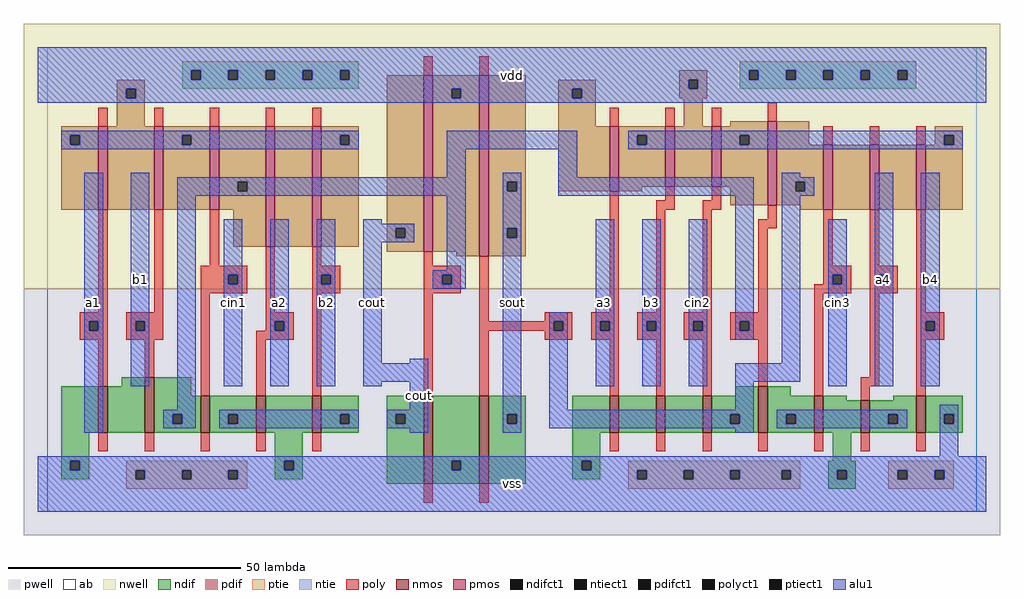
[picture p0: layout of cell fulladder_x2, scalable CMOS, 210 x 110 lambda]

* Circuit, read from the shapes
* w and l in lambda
.subckt fulladder_x2 a1 a2 a3 a4 b1 b2 b3 b4 cin1 cin2 cin3 cout sout vdd vss
M1 n1 a1 vss vss nfet w=10 l=2
M2 n2 b1 n1 vss nfet w=12 l=2
M3 n3 cin1 n2 vss nfet w=8 l=2
M4 vss a2 n3 vss nfet w=8 l=2
M5 n3 b2 vss vss nfet w=8 l=2
M6 vss n2 cout vss nfet w=19 l=2
M7 sout n4 vss vss nfet w=19 l=2
M8 n5 a3 vss vss nfet w=8 l=2
M9 n6 b3 n5 vss nfet w=8 l=2
M10 n4 cin2 n6 vss nfet w=8 l=2
M11 n7 n2 n4 vss nfet w=10 l=2
M12 vss cin3 n7 vss nfet w=8 l=2
M13 n7 a4 vss vss nfet w=7 l=2
M14 vss b4 n7 vss nfet w=8 l=2
M15 vdd a1 n8 vdd pfet w=18 l=2
M16 n8 b1 vdd vdd pfet w=18 l=2
M17 n2 cin1 n8 vdd pfet w=18 l=2
M18 n9 a2 n2 vdd pfet w=26 l=2
M19 n8 b2 n9 vdd pfet w=26 l=2
M20 vdd n2 cout vdd pfet w=38 l=2
M21 sout n4 vdd vdd pfet w=39 l=2
M22 n10 a3 vdd vdd pfet w=14 l=2
M23 vdd b3 n10 vdd pfet w=13 l=2
M24 n10 cin2 vdd vdd pfet w=13 l=2
M25 n4 n2 n10 vdd pfet w=18 l=2
M26 n11 cin3 n4 vdd pfet w=14 l=2
M27 n12 a4 n11 vdd pfet w=14 l=2
M28 n10 b4 n12 vdd pfet w=14 l=2
.ends

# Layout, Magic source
magic
tech scmos
<< ab >>
rect 0 0 200 100
<< nwell >>
rect -5 48 205 105
<< pwell >>
rect -5 -5 205 48
<< poly >>
rect 81 94 83 98
rect 93 94 95 98
rect 11 83 13 87
rect 23 83 25 87
rect 35 83 37 87
rect 47 83 49 87
rect 57 83 59 87
rect 11 43 13 65
rect 23 43 25 65
rect 35 53 37 65
rect 7 41 13 43
rect 7 39 9 41
rect 11 39 13 41
rect 7 37 13 39
rect 17 41 25 43
rect 17 39 19 41
rect 21 39 25 41
rect 17 37 25 39
rect 33 51 43 53
rect 33 49 39 51
rect 41 49 43 51
rect 33 47 43 49
rect 11 27 13 37
rect 21 29 23 37
rect 33 25 35 47
rect 47 43 49 57
rect 57 53 59 57
rect 81 53 83 56
rect 121 83 123 87
rect 133 83 135 87
rect 143 83 145 87
rect 155 84 157 88
rect 57 51 63 53
rect 57 49 59 51
rect 61 49 63 51
rect 57 47 63 49
rect 81 51 89 53
rect 81 49 85 51
rect 87 49 89 51
rect 81 47 89 49
rect 47 41 53 43
rect 47 39 49 41
rect 51 39 53 41
rect 45 37 53 39
rect 45 25 47 37
rect 57 25 59 47
rect 81 25 83 47
rect 93 41 95 55
rect 121 43 123 69
rect 133 67 135 70
rect 143 67 145 70
rect 131 65 135 67
rect 141 65 145 67
rect 167 79 169 83
rect 177 79 179 83
rect 187 79 189 83
rect 131 43 133 65
rect 141 43 143 65
rect 155 63 157 66
rect 153 61 157 63
rect 153 43 155 61
rect 167 53 169 65
rect 177 53 179 65
rect 167 51 173 53
rect 167 49 169 51
rect 171 49 173 51
rect 107 41 113 43
rect 93 39 109 41
rect 111 39 113 41
rect 93 25 95 39
rect 107 37 113 39
rect 117 41 123 43
rect 117 39 119 41
rect 121 39 123 41
rect 117 37 123 39
rect 127 41 133 43
rect 127 39 129 41
rect 131 39 133 41
rect 127 37 133 39
rect 137 41 143 43
rect 137 39 139 41
rect 141 39 143 41
rect 137 37 143 39
rect 147 41 155 43
rect 147 39 149 41
rect 151 39 155 41
rect 147 37 155 39
rect 121 25 123 37
rect 131 25 133 37
rect 141 25 143 37
rect 153 27 155 37
rect 165 47 173 49
rect 177 51 183 53
rect 177 49 179 51
rect 181 49 183 51
rect 177 47 183 49
rect 11 13 13 17
rect 21 13 23 17
rect 33 13 35 17
rect 45 13 47 17
rect 57 13 59 17
rect 165 25 167 47
rect 177 29 179 47
rect 175 27 179 29
rect 187 43 189 65
rect 187 41 193 43
rect 187 39 189 41
rect 191 39 193 41
rect 187 37 193 39
rect 175 24 177 27
rect 187 25 189 37
rect 121 13 123 17
rect 131 13 133 17
rect 141 13 143 17
rect 153 13 155 17
rect 165 13 167 17
rect 175 13 177 17
rect 187 13 189 17
rect 81 2 83 6
rect 93 2 95 6
<< ndif >>
rect 16 27 21 29
rect 3 17 11 27
rect 13 17 21 27
rect 23 25 31 29
rect 148 25 153 27
rect 23 21 33 25
rect 23 19 27 21
rect 29 19 33 21
rect 23 17 33 19
rect 35 21 45 25
rect 35 19 39 21
rect 41 19 45 21
rect 35 17 45 19
rect 47 17 57 25
rect 59 21 67 25
rect 59 19 63 21
rect 65 19 67 21
rect 59 17 67 19
rect 73 21 81 25
rect 73 19 75 21
rect 77 19 81 21
rect 3 11 9 17
rect 49 11 55 17
rect 3 9 5 11
rect 7 9 9 11
rect 3 7 9 9
rect 49 9 51 11
rect 53 9 55 11
rect 49 7 55 9
rect 73 6 81 19
rect 83 11 93 25
rect 83 9 87 11
rect 89 9 93 11
rect 83 6 93 9
rect 95 21 103 25
rect 95 19 99 21
rect 101 19 103 21
rect 95 6 103 19
rect 113 17 121 25
rect 123 17 131 25
rect 133 17 141 25
rect 143 21 153 25
rect 143 19 147 21
rect 149 19 153 21
rect 143 17 153 19
rect 155 25 160 27
rect 155 21 165 25
rect 155 19 159 21
rect 161 19 165 21
rect 155 17 165 19
rect 167 24 172 25
rect 182 24 187 25
rect 167 17 175 24
rect 177 21 187 24
rect 177 19 181 21
rect 183 19 187 21
rect 177 17 187 19
rect 189 21 197 25
rect 189 19 193 21
rect 195 19 197 21
rect 189 17 197 19
rect 113 11 119 17
rect 169 11 173 17
rect 113 9 115 11
rect 117 9 119 11
rect 113 7 119 9
rect 168 9 174 11
rect 168 7 170 9
rect 172 7 174 9
rect 168 5 174 7
<< pdif >>
rect 15 91 21 93
rect 15 89 17 91
rect 19 89 21 91
rect 15 83 21 89
rect 3 81 11 83
rect 3 79 5 81
rect 7 79 11 81
rect 3 65 11 79
rect 13 65 23 83
rect 25 81 35 83
rect 25 79 29 81
rect 31 79 35 81
rect 25 65 35 79
rect 37 71 47 83
rect 37 69 41 71
rect 43 69 47 71
rect 37 65 47 69
rect 40 57 47 65
rect 49 57 57 83
rect 59 81 67 83
rect 59 79 63 81
rect 65 79 67 81
rect 59 57 67 79
rect 73 61 81 94
rect 73 59 75 61
rect 77 59 81 61
rect 73 56 81 59
rect 83 91 93 94
rect 83 89 87 91
rect 89 89 93 91
rect 83 56 93 89
rect 88 55 93 56
rect 95 71 103 94
rect 136 93 142 95
rect 95 69 99 71
rect 101 69 103 71
rect 110 91 118 93
rect 110 89 113 91
rect 115 89 118 91
rect 136 91 138 93
rect 140 91 142 93
rect 136 89 142 91
rect 110 83 118 89
rect 137 83 141 89
rect 147 83 155 84
rect 110 69 121 83
rect 123 81 133 83
rect 123 79 127 81
rect 129 79 133 81
rect 123 70 133 79
rect 135 70 143 83
rect 145 81 155 83
rect 145 79 149 81
rect 151 79 155 81
rect 145 70 155 79
rect 123 69 128 70
rect 95 61 103 69
rect 95 59 99 61
rect 101 59 103 61
rect 95 55 103 59
rect 147 66 155 70
rect 157 79 164 84
rect 191 81 197 83
rect 191 79 193 81
rect 195 79 197 81
rect 157 71 167 79
rect 157 69 161 71
rect 163 69 167 71
rect 157 66 167 69
rect 162 65 167 66
rect 169 65 177 79
rect 179 65 187 79
rect 189 65 197 79
<< alu1 >>
rect -2 95 202 100
rect -2 93 31 95
rect 33 93 39 95
rect 41 93 47 95
rect 49 93 55 95
rect 57 93 63 95
rect 65 93 151 95
rect 153 93 159 95
rect 161 93 167 95
rect 169 93 175 95
rect 177 93 183 95
rect 185 93 202 95
rect -2 91 138 93
rect 140 91 202 93
rect -2 89 17 91
rect 19 89 87 91
rect 89 89 113 91
rect 115 89 202 91
rect -2 88 202 89
rect 3 81 67 82
rect 3 79 5 81
rect 7 79 29 81
rect 31 79 63 81
rect 65 79 67 81
rect 3 78 67 79
rect 86 78 114 82
rect 125 81 197 82
rect 125 79 127 81
rect 129 79 149 81
rect 151 79 193 81
rect 195 79 197 81
rect 125 78 197 79
rect 8 41 12 73
rect 8 39 9 41
rect 11 39 12 41
rect 8 17 12 39
rect 18 41 22 73
rect 86 72 90 78
rect 18 39 19 41
rect 21 39 22 41
rect 18 27 22 39
rect 28 71 90 72
rect 28 69 41 71
rect 43 69 90 71
rect 28 68 90 69
rect 28 22 32 68
rect 38 51 42 63
rect 38 49 39 51
rect 41 49 42 51
rect 38 27 42 49
rect 48 41 52 63
rect 48 39 49 41
rect 51 39 52 41
rect 48 27 52 39
rect 58 51 62 63
rect 58 49 59 51
rect 61 49 62 51
rect 58 27 62 49
rect 68 62 72 63
rect 68 61 79 62
rect 68 59 75 61
rect 77 59 79 61
rect 68 58 79 59
rect 68 32 72 58
rect 86 52 90 68
rect 83 51 90 52
rect 83 49 85 51
rect 87 49 90 51
rect 83 48 90 49
rect 98 71 102 73
rect 98 69 99 71
rect 101 69 102 71
rect 98 61 102 69
rect 110 72 114 78
rect 158 72 162 73
rect 110 68 152 72
rect 98 59 99 61
rect 101 59 102 61
rect 78 32 82 33
rect 68 28 82 32
rect 68 27 72 28
rect 78 22 82 28
rect 25 21 32 22
rect 25 19 27 21
rect 29 19 32 21
rect 25 18 32 19
rect 37 21 67 22
rect 37 19 39 21
rect 41 19 63 21
rect 65 19 67 21
rect 37 18 67 19
rect 73 21 82 22
rect 73 19 75 21
rect 77 19 82 21
rect 73 18 82 19
rect 78 17 82 18
rect 98 21 102 59
rect 98 19 99 21
rect 101 19 102 21
rect 98 17 102 19
rect 108 41 112 43
rect 108 39 109 41
rect 111 39 112 41
rect 108 22 112 39
rect 118 41 122 63
rect 118 39 119 41
rect 121 39 122 41
rect 118 27 122 39
rect 128 41 132 63
rect 128 39 129 41
rect 131 39 132 41
rect 128 27 132 39
rect 138 41 142 63
rect 138 39 139 41
rect 141 39 142 41
rect 138 27 142 39
rect 148 41 152 68
rect 148 39 149 41
rect 151 39 152 41
rect 148 37 152 39
rect 158 71 165 72
rect 158 69 161 71
rect 163 69 165 71
rect 158 68 165 69
rect 158 32 162 68
rect 148 28 162 32
rect 168 51 172 63
rect 168 49 169 51
rect 171 49 172 51
rect 148 22 152 28
rect 168 27 172 49
rect 178 51 182 73
rect 178 49 179 51
rect 181 49 182 51
rect 178 27 182 49
rect 188 41 192 73
rect 188 39 189 41
rect 191 39 192 41
rect 188 27 192 39
rect 108 21 152 22
rect 108 19 147 21
rect 149 19 152 21
rect 108 18 152 19
rect 157 21 185 22
rect 157 19 159 21
rect 161 19 181 21
rect 183 19 185 21
rect 157 18 185 19
rect 192 21 196 23
rect 192 19 193 21
rect 195 19 196 21
rect 148 17 152 18
rect 192 12 196 19
rect -2 11 202 12
rect -2 9 5 11
rect 7 9 51 11
rect 53 9 87 11
rect 89 9 115 11
rect 117 9 202 11
rect -2 7 19 9
rect 21 7 29 9
rect 31 7 39 9
rect 41 7 127 9
rect 129 7 137 9
rect 139 7 147 9
rect 149 7 158 9
rect 160 7 170 9
rect 172 7 183 9
rect 185 7 191 9
rect 193 7 202 9
rect -2 0 202 7
<< ptie >>
rect 17 9 43 11
rect 17 7 19 9
rect 21 7 29 9
rect 31 7 39 9
rect 41 7 43 9
rect 17 5 43 7
rect 125 9 162 11
rect 125 7 127 9
rect 129 7 137 9
rect 139 7 147 9
rect 149 7 158 9
rect 160 7 162 9
rect 125 5 162 7
rect 181 9 195 11
rect 181 7 183 9
rect 185 7 191 9
rect 193 7 195 9
rect 181 5 195 7
<< ntie >>
rect 29 95 67 97
rect 29 93 31 95
rect 33 93 39 95
rect 41 93 47 95
rect 49 93 55 95
rect 57 93 63 95
rect 65 93 67 95
rect 149 95 187 97
rect 29 91 67 93
rect 149 93 151 95
rect 153 93 159 95
rect 161 93 167 95
rect 169 93 175 95
rect 177 93 183 95
rect 185 93 187 95
rect 149 91 187 93
<< nmos >>
rect 11 17 13 27
rect 21 17 23 29
rect 33 17 35 25
rect 45 17 47 25
rect 57 17 59 25
rect 81 6 83 25
rect 93 6 95 25
rect 121 17 123 25
rect 131 17 133 25
rect 141 17 143 25
rect 153 17 155 27
rect 165 17 167 25
rect 175 17 177 24
rect 187 17 189 25
<< pmos >>
rect 11 65 13 83
rect 23 65 25 83
rect 35 65 37 83
rect 47 57 49 83
rect 57 57 59 83
rect 81 56 83 94
rect 93 55 95 94
rect 121 69 123 83
rect 133 70 135 83
rect 143 70 145 83
rect 155 66 157 84
rect 167 65 169 79
rect 177 65 179 79
rect 187 65 189 79
<< polyct1 >>
rect 9 39 11 41
rect 19 39 21 41
rect 39 49 41 51
rect 59 49 61 51
rect 85 49 87 51
rect 49 39 51 41
rect 169 49 171 51
rect 109 39 111 41
rect 119 39 121 41
rect 129 39 131 41
rect 139 39 141 41
rect 149 39 151 41
rect 179 49 181 51
rect 189 39 191 41
<< ndifct1 >>
rect 27 19 29 21
rect 39 19 41 21
rect 63 19 65 21
rect 75 19 77 21
rect 5 9 7 11
rect 51 9 53 11
rect 87 9 89 11
rect 99 19 101 21
rect 147 19 149 21
rect 159 19 161 21
rect 181 19 183 21
rect 193 19 195 21
rect 115 9 117 11
rect 170 7 172 9
<< ntiect1 >>
rect 31 93 33 95
rect 39 93 41 95
rect 47 93 49 95
rect 55 93 57 95
rect 63 93 65 95
rect 151 93 153 95
rect 159 93 161 95
rect 167 93 169 95
rect 175 93 177 95
rect 183 93 185 95
<< ptiect1 >>
rect 19 7 21 9
rect 29 7 31 9
rect 39 7 41 9
rect 127 7 129 9
rect 137 7 139 9
rect 147 7 149 9
rect 158 7 160 9
rect 183 7 185 9
rect 191 7 193 9
<< pdifct1 >>
rect 17 89 19 91
rect 5 79 7 81
rect 29 79 31 81
rect 41 69 43 71
rect 63 79 65 81
rect 75 59 77 61
rect 87 89 89 91
rect 99 69 101 71
rect 113 89 115 91
rect 138 91 140 93
rect 127 79 129 81
rect 149 79 151 81
rect 99 59 101 61
rect 193 79 195 81
rect 161 69 163 71
<< labels >>
rlabel alu1 20 50 20 50 6 b1
rlabel alu1 10 45 10 45 6 a1
rlabel alu1 40 45 40 45 6 cin1
rlabel alu1 70 45 70 45 6 cout
rlabel alu1 50 45 50 45 6 a2
rlabel alu1 60 45 60 45 6 b2
rlabel alu1 100 6 100 6 6 vss
rlabel alu1 80 25 80 25 6 cout
rlabel alu1 100 45 100 45 6 sout
rlabel alu1 100 94 100 94 6 vdd
rlabel alu1 120 45 120 45 6 a3
rlabel alu1 130 45 130 45 6 b3
rlabel alu1 140 45 140 45 6 cin2
rlabel alu1 170 45 170 45 6 cin3
rlabel polyct1 180 50 180 50 6 a4
rlabel alu1 190 50 190 50 6 b4
<< end >>
